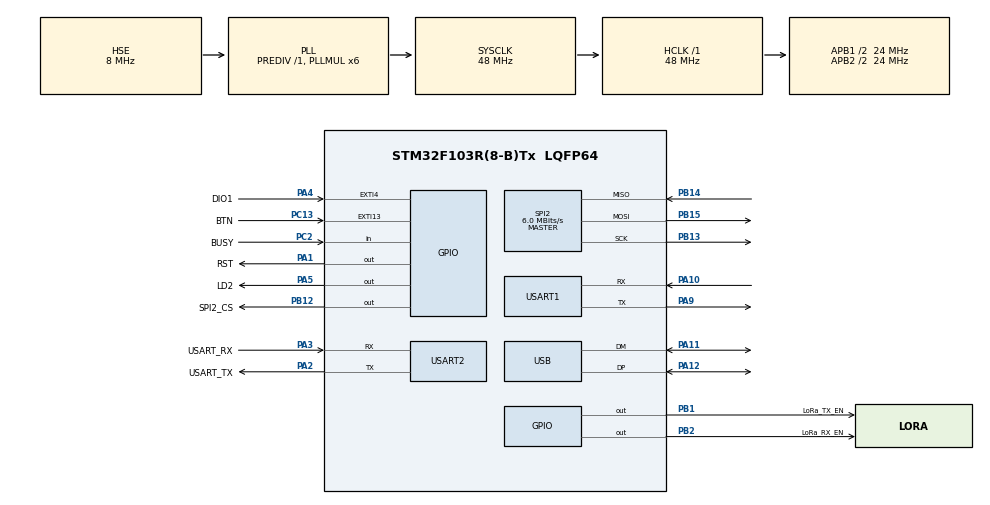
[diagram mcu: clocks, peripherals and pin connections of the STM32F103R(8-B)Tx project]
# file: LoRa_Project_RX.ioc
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Mcu.Family=STM32F1
Mcu.Name=STM32F103R(8-B)Tx
Mcu.Package=LQFP64
NVIC.EXTI15_10_IRQn=true\:0\:0\:false\:false\:true\:true\:true\:true
NVIC.EXTI4_IRQn=true\:0\:0\:false\:false\:true\:true\:true\:true
NVIC.PriorityGroup=NVIC_PRIORITYGROUP_4
NVIC.USART2_IRQn=true\:0\:0\:false\:false\:true\:true\:true\:true
NVIC.USB_LP_CAN1_RX0_IRQn=true\:0\:0\:false\:false\:true\:false\:true\:true
PA1.GPIO_Label=RST
PA1.PinState=GPIO_PIN_SET
PA1.Signal=GPIO_Output
PA10.Mode=Asynchronous
PA10.Signal=USART1_RX
PA11.Mode=Device
PA11.Signal=USB_DM
PA12.Mode=Device
PA12.Signal=USB_DP
PA13.GPIO_Label=TMS
PA13.Mode=Serial_Wire
PA13.Signal=SYS_JTMS-SWDIO
PA14.GPIO_Label=TCK
PA14.Mode=Serial_Wire
PA14.Signal=SYS_JTCK-SWCLK
PA2.GPIO_Label=USART_TX
PA2.GPIO_Mode=GPIO_MODE_AF_PP
PA2.GPIO_PuPd=GPIO_NOPULL
PA2.GPIO_Speed=GPIO_SPEED_FREQ_LOW
PA2.Mode=Asynchronous
PA2.Signal=USART2_TX
PA3.GPIO_Label=USART_RX
PA3.GPIO_Mode=GPIO_MODE_AF_PP
PA3.GPIO_PuPd=GPIO_NOPULL
PA3.GPIO_Speed=GPIO_SPEED_FREQ_LOW
PA3.Mode=Asynchronous
PA3.Signal=USART2_RX
PA4.GPIO_Label=DIO1
PA4.Signal=GPXTI4
PA5.GPIO_Label=LD2
PA5.GPIO_ModeDefaultOutputPP=GPIO_MODE_OUTPUT_PP
PA5.GPIO_PuPd=GPIO_NOPULL
PA5.GPIO_Speed=GPIO_SPEED_FREQ_LOW
PA5.Signal=GPIO_Output
PA9.Mode=Asynchronous
PA9.Signal=USART1_TX
PB1.GPIO_Label=LoRa_TX_EN
PB1.Signal=GPIO_Output
PB12.GPIO_Label=SPI2_CS
PB12.GPIO_Speed=GPIO_SPEED_FREQ_HIGH
PB12.PinState=GPIO_PIN_SET
PB12.Signal=GPIO_Output
PB13.Mode=Full_Duplex_Master
PB13.Signal=SPI2_SCK
PB14.Mode=Full_Duplex_Master
PB14.Signal=SPI2_MISO
PB15.Mode=Full_Duplex_Master
PB15.Signal=SPI2_MOSI
PB2.GPIO_Label=LoRa_RX_EN
PB2.Signal=GPIO_Output
PB3.GPIO_Label=SWO
PB3.Signal=SYS_JTDO-TRACESWO
PC13-TAMPER-RTC.GPIO_Label=BTN
PC13-TAMPER-RTC.Signal=GPXTI13
PC14-OSC32_IN.Mode=LSE-External-Oscillator
PC14-OSC32_IN.Signal=RCC_OSC32_IN
PC15-OSC32_OUT.Mode=LSE-External-Oscillator
PC15-OSC32_OUT.Signal=RCC_OSC32_OUT
PC2.GPIO_Label=BUSY
PC2.Signal=GPIO_Input
PD0-OSC_IN.Mode=HSE-External-Clock-Source
PD0-OSC_IN.Signal=RCC_OSC_IN
PD1-OSC_OUT.Mode=HSE-External-Clock-Source
PD1-OSC_OUT.Signal=RCC_OSC_OUT
ProjectManager.HeapSize=0x200
ProjectManager.StackSize=0x400
ProjectManager.TargetToolchain=STM32CubeIDE
RCC.AHBFreq_Value=48000000
RCC.APB1CLKDivider=RCC_HCLK_DIV2
RCC.APB1Freq_Value=24000000
RCC.APB1TimFreq_Value=48000000
RCC.APB2CLKDivider=RCC_HCLK_DIV2
RCC.APB2Freq_Value=24000000
RCC.APB2TimFreq_Value=48000000
RCC.HCLKFreq_Value=48000000
RCC.PLLMUL=RCC_PLL_MUL6
RCC.RTCClockSelection=RCC_RTCCLKSOURCE_LSE
RCC.SYSCLKFreq_VALUE=48000000
RCC.SYSCLKSource=RCC_SYSCLKSOURCE_PLLCLK
RCC.USBFreq_Value=48000000
RTC.Date=5
RTC.Hours=20
RTC.Minutes=15
RTC.Month=RTC_MONTH_OCTOBER
RTC.WeekDay=RTC_WEEKDAY_SUNDAY
RTC.Year=25
SPI2.BaudRatePrescaler=SPI_BAUDRATEPRESCALER_4
SPI2.CalculateBaudRate=6.0 MBits/s
SPI2.Direction=SPI_DIRECTION_2LINES
SPI2.Mode=SPI_MODE_MASTER
SPI2.VirtualType=VM_MASTER
USART1.VirtualMode=VM_ASYNC
USART2.VirtualMode=VM_ASYNC
USB_DEVICE.CLASS_NAME_FS=CDC
USB_DEVICE.VirtualMode=Cdc
USB_DEVICE.VirtualModeFS=Cdc_FS
VP_RTC_VS_RTC_Activate.Mode=RTC_Enabled
VP_RTC_VS_RTC_Calendar.Mode=RTC_Calendar
VP_USB_DEVICE_VS_USB_DEVICE_CDC_FS.Mode=CDC_FS
board=NUCLEO-F103RB

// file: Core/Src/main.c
/* USER CODE BEGIN Header */
/**
  ******************************************************************************
  * @file           : main.c
  * @brief          : LoRa Sniffer for SX1262
  ******************************************************************************
  */
/* USER CODE END Header */
#include "main.h"
#include "usb_device.h"
/* USER CODE BEGIN Includes */
#include <sx1262_B_common.h>
#include <sx126x.h>
#include <sx126x_hal.h>
#include <stdarg.h>
/* USER CODE END Includes */

/* USER CODE BEGIN PTD */
LoRaConfig LoRa;

uint8_t txdata[10];
uint8_t rxdata[10];
uint32_t last_print_time = 0;
uint32_t last_led_time = 0;
static volatile bool irq_fired = false;
static sx126x_pkt_type_t pkt_type ;
static sx126x_chip_status_t radio_status;
static sx126x_stats_lora_t stats;
static sx126x_errors_mask_t errors;
/* USER CODE END PTD */

RTC_HandleTypeDef hrtc;

SPI_HandleTypeDef hspi2;

UART_HandleTypeDef huart1;
UART_HandleTypeDef huart2;

void SystemClock_Config(void);
static void MX_GPIO_Init(void);
static void MX_USART2_UART_Init(void);
static void MX_SPI2_Init(void);
static void MX_USART1_UART_Init(void);
static void MX_RTC_Init(void);

int main(void)
{

  /* MCU Configuration--------------------------------------------------------*/

  /* Reset of all peripherals, Initializes the Flash interface and the Systick. */
  HAL_Init();

  /* Configure the system clock */
  SystemClock_Config();

  /* Initialize all configured peripherals */
  MX_GPIO_Init();
  MX_USART2_UART_Init();
  MX_SPI2_Init();
  MX_USART1_UART_Init();
  MX_USB_DEVICE_Init();
  MX_RTC_Init();
  /* USER CODE BEGIN 2 */

  // Set initial RTC time
  RTC_TimeTypeDef sTime = {0};
  RTC_DateTypeDef sDate = {0};

  sTime.Hours = 20;
  sTime.Minutes = 22;
  sTime.Seconds = 0;
  HAL_RTC_SetTime(&hrtc, &sTime, RTC_FORMAT_BIN);

  sDate.Year = 25;  // 2025
  sDate.Month = 10;
  sDate.Date = 5;
  HAL_RTC_SetDate(&hrtc, &sDate, RTC_FORMAT_BIN);
  /****************************LoRa Module Initialization *******************************/
  printf_ts("AMA ENGINEERING LoRa RECEIVER APPLICATION\n\r");
  init_LoRa_parm();
  sx126x_clear_device_errors(&LoRa);
  sx126x_init(&LoRa);
  Radio_init(&LoRa);

  sx126x_clear_irq_status(&LoRa, SX126X_IRQ_ALL);
  sx126x_set_dio_irq_params(
      &LoRa, SX126X_IRQ_ALL,
      SX126X_IRQ_TX_DONE | SX126X_IRQ_RX_DONE,
      SX126X_IRQ_NONE, SX126X_IRQ_NONE);

  sx126x_clear_irq_status(&LoRa, SX126X_IRQ_ALL);
  /****************************LoRa Module Initialization END *******************************/

  sx126x_get_pkt_type(&LoRa, &pkt_type);
  sx126x_get_status(&LoRa, &radio_status);
  sx126x_get_lora_stats(&LoRa, &stats);
  sx126x_get_device_errors(&LoRa, &errors);

  printf_ts("Error mask: 0x%04X\n\r", errors);

  HAL_Delay(2000);

  printf_ts("Starting RX mode...\n\r");
  sx126x_set_rx(&LoRa, 0);  // Enter continuous receive mode
  printf_ts("Ready to receive\n\r");
  /* USER CODE END 2 */

  /* Infinite loop */
  while (1)
  {

    /* USER CODE BEGIN 3 */
	  apps_common_sx126x_irq_process(&LoRa);
	  uint32_t current_time = HAL_GetTick();

	     // Print every 4000ms (4 seconds)
	     if(current_time - last_print_time >= 4000)
	     {
	         printf_ts("LoRa APPLICATION RUNNING...\n\r");
	         last_print_time = current_time;
	     }

	     // Toggle LED every 250ms
	     if(current_time - last_led_time >= 250)
	     {
	         HAL_GPIO_TogglePin(GPIOA, GPIO_PIN_5);
	         last_led_time = current_time;
	     }
  }
  /* USER CODE END 3 */
}

void SystemClock_Config(void)
{
  RCC_OscInitTypeDef RCC_OscInitStruct = {0};
  RCC_ClkInitTypeDef RCC_ClkInitStruct = {0};
  RCC_PeriphCLKInitTypeDef PeriphClkInit = {0};

  /** Initializes the RCC Oscillators according to the specified parameters
  * in the RCC_OscInitTypeDef structure.
  */
  RCC_OscInitStruct.OscillatorType = RCC_OSCILLATORTYPE_HSE|RCC_OSCILLATORTYPE_LSE;
  RCC_OscInitStruct.HSEState = RCC_HSE_BYPASS;
  RCC_OscInitStruct.HSEPredivValue = RCC_HSE_PREDIV_DIV1;
  RCC_OscInitStruct.LSEState = RCC_LSE_ON;
  RCC_OscInitStruct.HSIState = RCC_HSI_ON;
  RCC_OscInitStruct.PLL.PLLState = RCC_PLL_ON;
  RCC_OscInitStruct.PLL.PLLSource = RCC_PLLSOURCE_HSE;
  RCC_OscInitStruct.PLL.PLLMUL = RCC_PLL_MUL6;
  if (HAL_RCC_OscConfig(&RCC_OscInitStruct) != HAL_OK)
  {
    Error_Handler();
  }

  /** Initializes the CPU, AHB and APB buses clocks
  */
  RCC_ClkInitStruct.ClockType = RCC_CLOCKTYPE_HCLK|RCC_CLOCKTYPE_SYSCLK
                              |RCC_CLOCKTYPE_PCLK1|RCC_CLOCKTYPE_PCLK2;
  RCC_ClkInitStruct.SYSCLKSource = RCC_SYSCLKSOURCE_PLLCLK;
  RCC_ClkInitStruct.AHBCLKDivider = RCC_SYSCLK_DIV1;
  RCC_ClkInitStruct.APB1CLKDivider = RCC_HCLK_DIV2;
  RCC_ClkInitStruct.APB2CLKDivider = RCC_HCLK_DIV2;

  if (HAL_RCC_ClockConfig(&RCC_ClkInitStruct, FLASH_LATENCY_1) != HAL_OK)
  {
    Error_Handler();
  }
  PeriphClkInit.PeriphClockSelection = RCC_PERIPHCLK_RTC|RCC_PERIPHCLK_USB;
  PeriphClkInit.RTCClockSelection = RCC_RTCCLKSOURCE_LSE;
  PeriphClkInit.UsbClockSelection = RCC_USBCLKSOURCE_PLL;
  if (HAL_RCCEx_PeriphCLKConfig(&PeriphClkInit) != HAL_OK)
  {
    Error_Handler();
  }
}

static void MX_RTC_Init(void)
{

  RTC_TimeTypeDef sTime = {0};
  RTC_DateTypeDef DateToUpdate = {0};

  /** Initialize RTC Only
  */
  hrtc.Instance = RTC;
  hrtc.Init.AsynchPrediv = RTC_AUTO_1_SECOND;
  hrtc.Init.OutPut = RTC_OUTPUTSOURCE_ALARM;
  if (HAL_RTC_Init(&hrtc) != HAL_OK)
  {
    Error_Handler();
  }

  /** Initialize RTC and set the Time and Date
  */
  sTime.Hours = 0x20;
  sTime.Minutes = 0x15;
  sTime.Seconds = 0x0;

  if (HAL_RTC_SetTime(&hrtc, &sTime, RTC_FORMAT_BCD) != HAL_OK)
  {
    Error_Handler();
  }
  DateToUpdate.WeekDay = RTC_WEEKDAY_SUNDAY;
  DateToUpdate.Month = RTC_MONTH_OCTOBER;
  DateToUpdate.Date = 0x5;
  DateToUpdate.Year = 0x25;

  if (HAL_RTC_SetDate(&hrtc, &DateToUpdate, RTC_FORMAT_BCD) != HAL_OK)
  {
    Error_Handler();
  }

}

static void MX_SPI2_Init(void)
{

  /* SPI2 parameter configuration*/
  hspi2.Instance = SPI2;
  hspi2.Init.Mode = SPI_MODE_MASTER;
  hspi2.Init.Direction = SPI_DIRECTION_2LINES;
  hspi2.Init.DataSize = SPI_DATASIZE_8BIT;
  hspi2.Init.CLKPolarity = SPI_POLARITY_LOW;
  hspi2.Init.CLKPhase = SPI_PHASE_1EDGE;
  hspi2.Init.NSS = SPI_NSS_SOFT;
  hspi2.Init.BaudRatePrescaler = SPI_BAUDRATEPRESCALER_4;
  hspi2.Init.FirstBit = SPI_FIRSTBIT_MSB;
  hspi2.Init.TIMode = SPI_TIMODE_DISABLE;
  hspi2.Init.CRCCalculation = SPI_CRCCALCULATION_DISABLE;
  hspi2.Init.CRCPolynomial = 10;
  if (HAL_SPI_Init(&hspi2) != HAL_OK)
  {
    Error_Handler();
  }

}

static void MX_USART1_UART_Init(void)
{

  huart1.Instance = USART1;
  huart1.Init.BaudRate = 115200;
  huart1.Init.WordLength = UART_WORDLENGTH_8B;
  huart1.Init.StopBits = UART_STOPBITS_1;
  huart1.Init.Parity = UART_PARITY_NONE;
  huart1.Init.Mode = UART_MODE_TX_RX;
  huart1.Init.HwFlowCtl = UART_HWCONTROL_NONE;
  huart1.Init.OverSampling = UART_OVERSAMPLING_16;
  if (HAL_UART_Init(&huart1) != HAL_OK)
  {
    Error_Handler();
  }

}

static void MX_USART2_UART_Init(void)
{

  huart2.Instance = USART2;
  huart2.Init.BaudRate = 115200;
  huart2.Init.WordLength = UART_WORDLENGTH_8B;
  huart2.Init.StopBits = UART_STOPBITS_1;
  huart2.Init.Parity = UART_PARITY_NONE;
  huart2.Init.Mode = UART_MODE_TX_RX;
  huart2.Init.HwFlowCtl = UART_HWCONTROL_NONE;
  huart2.Init.OverSampling = UART_OVERSAMPLING_16;
  if (HAL_UART_Init(&huart2) != HAL_OK)
  {
    Error_Handler();
  }

}

static void MX_GPIO_Init(void)
{
  GPIO_InitTypeDef GPIO_InitStruct = {0};

  /* GPIO Ports Clock Enable */
  __HAL_RCC_GPIOC_CLK_ENABLE();
  __HAL_RCC_GPIOD_CLK_ENABLE();
  __HAL_RCC_GPIOA_CLK_ENABLE();
  __HAL_RCC_GPIOB_CLK_ENABLE();

  /*Configure GPIO pin Output Level */
  HAL_GPIO_WritePin(RST_GPIO_Port, RST_Pin, GPIO_PIN_SET);

  /*Configure GPIO pin Output Level */
  HAL_GPIO_WritePin(LD2_GPIO_Port, LD2_Pin, GPIO_PIN_RESET);

  /*Configure GPIO pin Output Level */
  HAL_GPIO_WritePin(GPIOB, LoRa_TX_EN_Pin|LoRa_RX_EN_Pin, GPIO_PIN_RESET);

  /*Configure GPIO pin Output Level */
  HAL_GPIO_WritePin(SPI2_CS_GPIO_Port, SPI2_CS_Pin, GPIO_PIN_SET);

  /*Configure GPIO pin : BTN_Pin */
  GPIO_InitStruct.Pin = BTN_Pin;
  GPIO_InitStruct.Mode = GPIO_MODE_IT_RISING;
  GPIO_InitStruct.Pull = GPIO_NOPULL;
  HAL_GPIO_Init(BTN_GPIO_Port, &GPIO_InitStruct);

  /*Configure GPIO pin : BUSY_Pin */
  GPIO_InitStruct.Pin = BUSY_Pin;
  GPIO_InitStruct.Mode = GPIO_MODE_INPUT;
  GPIO_InitStruct.Pull = GPIO_NOPULL;
  HAL_GPIO_Init(BUSY_GPIO_Port, &GPIO_InitStruct);

  /*Configure GPIO pins : RST_Pin LD2_Pin */
  GPIO_InitStruct.Pin = RST_Pin|LD2_Pin;
  GPIO_InitStruct.Mode = GPIO_MODE_OUTPUT_PP;
  GPIO_InitStruct.Pull = GPIO_NOPULL;
  GPIO_InitStruct.Speed = GPIO_SPEED_FREQ_LOW;
  HAL_GPIO_Init(GPIOA, &GPIO_InitStruct);

  /*Configure GPIO pin : DIO1_Pin */
  GPIO_InitStruct.Pin = DIO1_Pin;
  GPIO_InitStruct.Mode = GPIO_MODE_IT_RISING;
  GPIO_InitStruct.Pull = GPIO_NOPULL;
  HAL_GPIO_Init(DIO1_GPIO_Port, &GPIO_InitStruct);

  /*Configure GPIO pins : LoRa_TX_EN_Pin LoRa_RX_EN_Pin */
  GPIO_InitStruct.Pin = LoRa_TX_EN_Pin|LoRa_RX_EN_Pin;
  GPIO_InitStruct.Mode = GPIO_MODE_OUTPUT_PP;
  GPIO_InitStruct.Pull = GPIO_NOPULL;
  GPIO_InitStruct.Speed = GPIO_SPEED_FREQ_LOW;
  HAL_GPIO_Init(GPIOB, &GPIO_InitStruct);

  /*Configure GPIO pin : SPI2_CS_Pin */
  GPIO_InitStruct.Pin = SPI2_CS_Pin;
  GPIO_InitStruct.Mode = GPIO_MODE_OUTPUT_PP;
  GPIO_InitStruct.Pull = GPIO_NOPULL;
  GPIO_InitStruct.Speed = GPIO_SPEED_FREQ_HIGH;
  HAL_GPIO_Init(SPI2_CS_GPIO_Port, &GPIO_InitStruct);

  /* EXTI interrupt init*/
  HAL_NVIC_SetPriority(EXTI4_IRQn, 0, 0);
  HAL_NVIC_EnableIRQ(EXTI4_IRQn);

  HAL_NVIC_SetPriority(EXTI15_10_IRQn, 0, 0);
  HAL_NVIC_EnableIRQ(EXTI15_10_IRQn);

}

/* USER CODE BEGIN 4 */

void printf_ts(const char* format, ...)
{
    RTC_TimeTypeDef sTime;
    RTC_DateTypeDef sDate;

    HAL_RTC_GetTime(&hrtc, &sTime, RTC_FORMAT_BIN);
    HAL_RTC_GetDate(&hrtc, &sDate, RTC_FORMAT_BIN);

    printf("SYS: 20%02d-%02d-%02d - %02d:%02d:%02d  ",
           sDate.Year, sDate.Month, sDate.Date,
           sTime.Hours, sTime.Minutes, sTime.Seconds);

    va_list args;
    va_start(args, format);
    vprintf(format, args);
    va_end(args);
}

void init_LoRa_parm(void)
{
	txdata[0] = 'M';
	txdata[1] = 'L';
	txdata[2] = 'o';
	txdata[3] = 'R';
	txdata[4] = 'a';

	LoRa.BUSY_port = BUSY_GPIO_Port;
	LoRa.BUSY_pin  = BUSY_Pin;
	LoRa.NSS_port  = SPI2_CS_GPIO_Port;
	LoRa.NSS_pin   = SPI2_CS_Pin;
	LoRa.RST_port  = RST_GPIO_Port;
	LoRa.RST_pin   = RST_Pin;
	LoRa.DIO1_port = DIO1_GPIO_Port;
	LoRa.DIO1_pin  = DIO1_Pin;

	LoRa.hSPIx     = &hspi2;
}

void HAL_GPIO_EXTI_Callback(uint16_t GPIO_Pin)
{
  if(GPIO_Pin == LoRa.DIO1_pin)
  {
	  irq_fired = true;
  }
}

int _write(int file, char *ptr, int len)
{
  (void)file;
  HAL_UART_Transmit(&huart2, (uint8_t*)ptr, len, HAL_MAX_DELAY);
  return len;
}
void apps_common_sx126x_irq_process( const void* context )
{
    if( irq_fired == true )
    {
        irq_fired = false;

        sx126x_irq_mask_t irq_regs;
        sx126x_get_and_clear_irq_status( context, &irq_regs );

        if( ( irq_regs & SX126X_IRQ_TX_DONE ) == SX126X_IRQ_TX_DONE )
        {
        	printf_ts( "Tx done\n\r" );
            //on_tx_done( );
        }

        if( ( irq_regs & SX126X_IRQ_RX_DONE ) == SX126X_IRQ_RX_DONE )
        {
        	printf_ts( "Rx done\n\r" );
            sx126x_handle_rx_done( context );
            on_rx_done( );

        }

        if( ( irq_regs & SX126X_IRQ_PREAMBLE_DETECTED ) == SX126X_IRQ_PREAMBLE_DETECTED )
        {
        	printf_ts( "Preamble detected\n\r" );
            //on_preamble_detected( );
        }

        if( ( irq_regs & SX126X_IRQ_SYNC_WORD_VALID ) == SX126X_IRQ_SYNC_WORD_VALID )
        {
        	printf_ts( "Syncword valid\n\r" );
            //on_syncword_valid( );
        }

        if( ( irq_regs & SX126X_IRQ_HEADER_VALID ) == SX126X_IRQ_HEADER_VALID )
        {
        	printf_ts( "Header valid\n\r" );
            //on_header_valid( );
        }

        if( ( irq_regs & SX126X_IRQ_HEADER_ERROR ) == SX126X_IRQ_HEADER_ERROR )
        {
        	printf_ts( "Header error\n\r" );
            //on_header_error( );
        }

        if( ( irq_regs & SX126X_IRQ_CRC_ERROR ) == SX126X_IRQ_CRC_ERROR )
        {
        	printf_ts( "CRC error\n\r" );
            //on_crc_error( );
        }

        if( ( irq_regs & SX126X_IRQ_CAD_DONE ) == SX126X_IRQ_CAD_DONE )
        {
        	printf_ts( "CAD done\n\r" );
            if( ( irq_regs & SX126X_IRQ_CAD_DETECTED ) == SX126X_IRQ_CAD_DETECTED )
            {
            	printf_ts( "Channel activity detected\n\r" );
                //on_cad_done_detected( );
            }
            else
            {
            	printf_ts( "No channel activity detected\n\r" );
                //on_cad_done_undetected( );
            }
        }

        if( ( irq_regs & SX126X_IRQ_TIMEOUT ) == SX126X_IRQ_TIMEOUT )
        {
        	printf_ts( "Rx timeout\n\r" );
            //on_rx_timeout( );
        }

        if( ( irq_regs & SX126X_IRQ_LR_FHSS_HOP ) == SX126X_IRQ_LR_FHSS_HOP )
        {
        	printf_ts( "FHSS hop done\n\r" );
            //on_fhss_hop_done( );
        }
    }
}
void on_rx_done(void)
{
    sx126x_rx_buffer_status_t rx_buffer_status;
    sx126x_pkt_status_lora_t pkt_status;
    char received[17];
    uint8_t raw_buffer[17];

    sx126x_get_lora_pkt_status(&LoRa, &pkt_status);
    sx126x_get_rx_buffer_status(&LoRa, &rx_buffer_status);

    uint8_t bytes_to_read = rx_buffer_status.pld_len_in_bytes;
    if(bytes_to_read > 16) bytes_to_read = 16;

    sx126x_read_buffer(&LoRa, 0, raw_buffer, bytes_to_read);

    uint8_t actual_len = raw_buffer[0];
    if(actual_len > 15) actual_len = 15;

    memcpy(received, raw_buffer + 1, actual_len);
    received[actual_len] = '\0';

    printf_ts("RX: %d bytes (actual: %d)\n\r", bytes_to_read, actual_len);

        printf_ts("Received: %s\n\r", received);

        printf_ts("RSSI: %d dBm\n\r", pkt_status.rssi_pkt_in_dbm);

        printf_ts("SNR: %d dB\n\r", pkt_status.snr_pkt_in_db);

        printf_ts("Signal RSSI: %d dBm\n\r", pkt_status.signal_rssi_pkt_in_dbm);

        printf_ts("-------------------\n\r");

        sx126x_set_rx(&LoRa, 0);
}

/* USER CODE END 4 */

void Error_Handler(void)
{
  __disable_irq();
  while (1)
  {
  }
}
